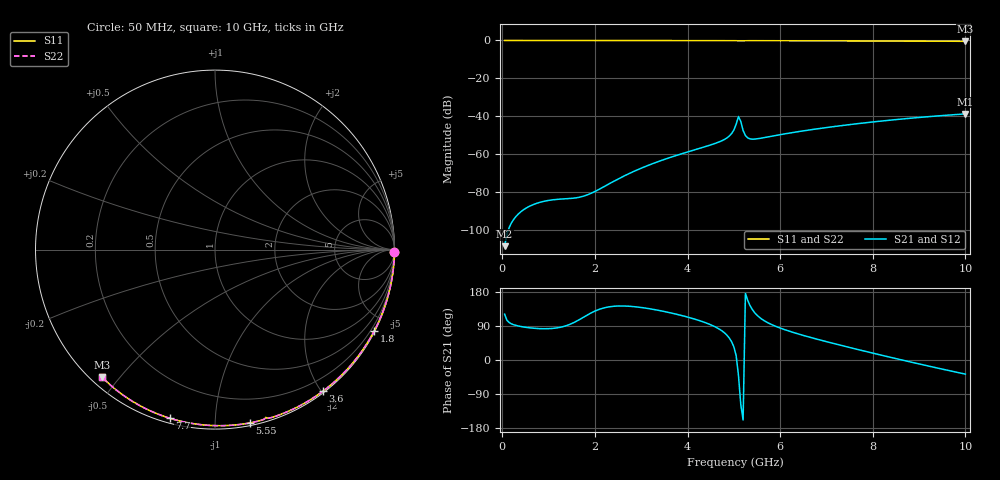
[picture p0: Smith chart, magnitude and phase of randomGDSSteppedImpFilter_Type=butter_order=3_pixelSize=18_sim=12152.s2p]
! freq	dB(S11)	phase(S11)	dB(S12)	phase(S12)
!  dB(S21)	phase(S21)	dB(S22)	phase(S22)
!S-par simulation data
#  GHz  S  DB  R 50
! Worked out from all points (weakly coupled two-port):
!   200 points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, 50 MHz to 10 GHz, reference 50 ohm
!   highest |S21| = -38.80 dB at 10 GHz (marker M1); lowest = -108.7 dB at 50 MHz (marker M2)
!   lowest |S11| = -0.5 dB at 10 GHz (marker M3), VSWR 38.44, Z = 1.56 - j22.5 ohm
!   |S11| at or under -10 dB: nowhere
!   |S22| runs from -0.5 to 0.0 dB; largest |S21 - S12| = 0
!   S11 on the Smith chart (normalised r, x): 50 MHz: open; 1.8 GHz: 0.04, -4.17; 3.6 GHz: 0.02, -2.02; 5.55 GHz: 0.02, -1.22; 7.7 GHz: 0.02, -0.77; 10 GHz: 0.03, -0.45
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0.05  -0.00 -0.8  -108.70 121.0  -108.70 121.0  -0.00 -0.8
0.9  -0.02 -13.6  -84.99 82.5  -84.99 82.5  -0.02 -13.6
1.75  -0.03 -26.2  -82.32 112.7  -82.32 112.7  -0.03 -26.2
1.8  -0.03 -27.0  -81.92 116.2  -81.92 116.2  -0.03 -26.9
2  -0.04 -29.9  -79.82 129.1  -79.82 129.1  -0.04 -29.9
2.75  -0.05 -40.7  -70.20 141.7  -70.20 141.7  -0.05 -40.7
3.4  -0.07 -49.9  -63.71 130.4  -63.71 130.4  -0.07 -49.9
3.6  -0.07 -52.7  -62.02 125.3  -62.02 125.3  -0.07 -52.7
4.75  -0.10 -68.4  -52.89 76.3  -52.89 76.3  -0.10 -68.4
4.95  -0.11 -71.1  -49.25 48.7  -49.25 48.7  -0.11 -71.1
5  -0.12 -71.8  -47.33 34.8  -47.33 34.8  -0.12 -71.8
5.05  -0.14 -72.6  -44.25 11.6  -44.25 11.6  -0.14 -72.6
5.1  -0.21 -73.2  -40.18 -40.7  -40.18 -40.7  -0.21 -73.2
5.15  -0.18 -73.2  -42.80 -117.6  -42.80 -117.6  -0.18 -73.2
5.2  -0.14 -73.9  -47.56 -158.5  -47.56 -158.5  -0.14 -73.9
5.25  -0.13 -74.7  -50.23 175.9  -50.23 175.9  -0.13 -74.6
5.35  -0.13 -76.0  -52.03 143.5  -52.03 143.5  -0.13 -76.0
5.55  -0.13 -78.6  -51.80 112.9  -51.80 112.9  -0.13 -78.6
6.7  -0.18 -93.1  -47.05 58.1  -47.05 58.1  -0.18 -93.1
7.7  -0.24 -105.1  -43.89 27.0  -43.89 27.0  -0.24 -105.1
8.35  -0.29 -112.7  -42.17 8.0  -42.17 8.0  -0.29 -112.7
10  -0.45 -131.5  -38.80 -37.2  -38.80 -37.2  -0.45 -131.5
